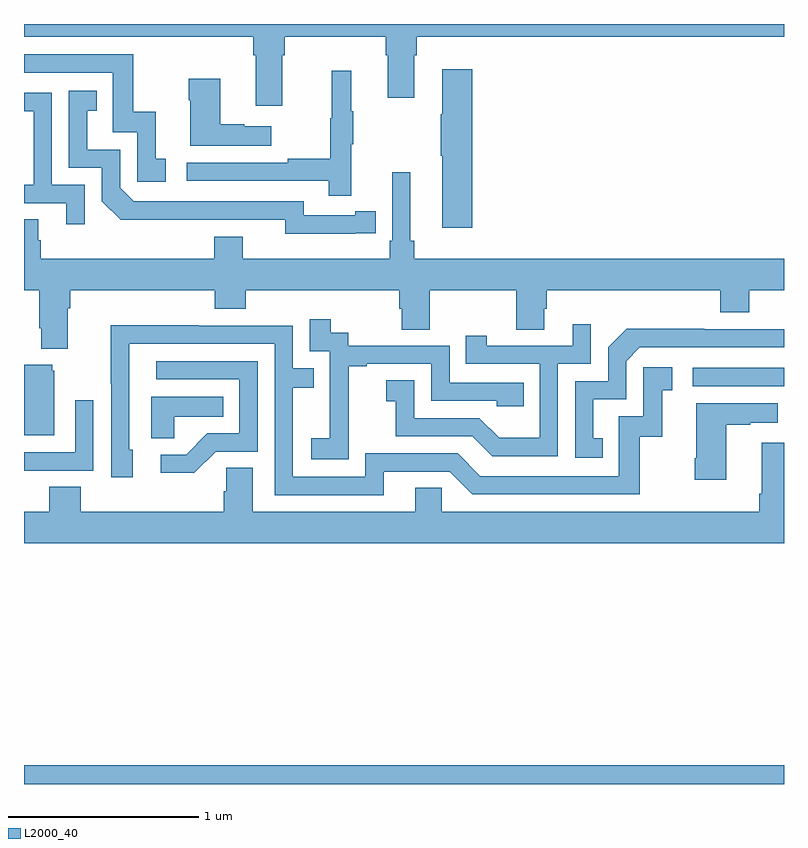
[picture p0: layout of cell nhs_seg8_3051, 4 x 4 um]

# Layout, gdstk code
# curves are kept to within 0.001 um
import gdstk
lib = gdstk.Library(unit=1e-6, precision=1e-09)
def R(c, l, rs):  # rectangles x0, y0, x1, y1
    for r in rs: c.add(gdstk.rectangle(r[:2], r[2:], *l))
def P(c, l, *ps):  # polygons
    for p in ps: c.add(gdstk.Polygon(p, *l))
L2000_40 = (2000, 40)

nhs_seg8_3051 = lib.new_cell('nhs_seg8_3051')
R(nhs_seg8_3051, L2000_40, [(301,1113.9,305,1114), (304.521,1115.994,305,1116.09)])
P(nhs_seg8_3051, L2000_40, [(302.359,1117.736),(302.372,1117.736),(302.372,1117.832),(302.903,1117.832),(302.903,1117.736),(302.915,1117.736),(302.915,1117.512),(303.055,1117.512),(303.055,1117.736),(303.068,1117.736),(303.068,1117.832),(305,1117.832),(305,1117.9),(301,1117.9),(301,1117.832),(302.207,1117.832),(302.207,1117.736),(302.219,1117.736),(302.219,1117.47),(302.359,1117.47)],
  [(301.747,1117.191),(301.694,1117.191),(301.694,1117.438),(301.576,1117.438),(301.576,1117.74),(301,1117.74),(301,1117.644),(301.467,1117.644),(301.467,1117.329),(301.596,1117.329),(301.596,1117.071),(301.747,1117.071)],
  [(303.359,1117.663),(303.2,1117.663),(303.2,1117.424),(303.193,1117.424),(303.193,1117.207),(303.2,1117.207),(303.2,1116.828),(303.359,1116.828)],
  [(302.723,1117.267),(302.734,1117.267),(302.734,1117.441),(302.723,1117.441),(302.723,1117.654),(302.62,1117.654),(302.62,1117.404),(302.613,1117.404),(302.613,1117.19),(302.389,1117.19),(302.389,1117.17),(301.857,1117.17),(301.857,1117.074),(302.605,1117.074),(302.605,1116.996),(302.723,1116.996)],
  [(302.302,1117.363),(302.159,1117.363),(302.159,1117.373),(302.032,1117.373),(302.032,1117.612),(301.867,1117.612),(301.867,1117.499),(301.874,1117.499),(301.874,1117.259),(302.302,1117.259)],
  [(302.744,1116.798),(302.852,1116.798),(302.852,1116.914),(302.744,1116.914),(302.744,1116.894),(302.472,1116.894),(302.472,1116.966),(301.578,1116.966),(301.506,1117.038),(301.506,1117.239),(301.333,1117.239),(301.333,1117.443),(301.382,1117.443),(301.382,1117.549),(301.236,1117.549),(301.236,1117.143),(301.41,1117.143),(301.41,1116.966),(301.508,1116.869),(302.376,1116.87),(302.376,1116.797)],
  [(301.32,1117.053),(301.146,1117.053),(301.146,1117.539),(301,1117.539),(301,1117.442),(301.05,1117.442),(301.05,1117.053),(301,1117.053),(301,1116.957),(301.223,1116.957),(301.223,1116.846),(301.32,1116.846)],
  [(301.231,1116.404),(301.244,1116.404),(301.244,1116.5),(302.003,1116.5),(302.003,1116.401),(302.168,1116.401),(302.168,1116.5),(302.975,1116.5),(302.975,1116.402),(302.987,1116.402),(302.987,1116.292),(303.135,1116.292),(303.135,1116.5),(303.592,1116.5),(303.592,1116.292),(303.739,1116.292),(303.739,1116.402),(303.752,1116.402),(303.752,1116.5),(304.664,1116.5),(304.664,1116.383),(304.816,1116.383),(304.816,1116.5),(305,1116.5),(305,1116.664),(303.053,1116.664),(303.053,1116.76),(303.034,1116.76),(303.034,1117.12),(302.937,1117.12),(302.937,1116.76),(302.924,1116.76),(302.924,1116.664),(302.152,1116.664),(302.152,1116.781),(302,1116.781),(302,1116.664),(301.088,1116.664),(301.088,1116.762),(301.075,1116.762),(301.075,1116.872),(301,1116.872),(301,1116.5),(301.079,1116.5),(301.079,1116.298),(301.091,1116.298),(301.091,1116.191),(301.231,1116.191)],
  [(302.709,1115.815),(302.708,1115.815),(302.708,1116.099),(302.803,1116.099),(302.803,1116.111),(303.144,1116.111),(303.144,1115.916),(303.489,1115.916),(303.489,1115.889),(303.629,1115.889),(303.629,1116.012),(303.24,1116.012),(303.24,1116.207),(302.706,1116.207),(302.706,1116.276),(302.614,1116.276),(302.614,1116.346),(302.505,1116.346),(302.505,1116.177),(302.61,1116.177),(302.61,1115.948),(302.609,1115.948),(302.609,1115.719),(302.511,1115.719),(302.511,1115.609),(302.709,1115.609)],
  [(303.81,1116.111),(303.984,1116.111),(303.984,1116.319),(303.887,1116.319),(303.887,1116.207),(303.436,1116.207),(303.436,1116.259),(303.325,1116.259),(303.325,1116.111),(303.714,1116.111),(303.714,1115.722),(303.5,1115.722),(303.396,1115.826),(303.054,1115.826),(303.054,1116.025),(302.907,1116.025),(302.907,1115.915),(302.956,1115.915),(302.956,1115.73),(303.359,1115.73),(303.464,1115.625),(303.81,1115.625)],
  [(302.893,1115.544),(303.24,1115.544),(303.36,1115.424),(304.24,1115.424),(304.24,1115.727),(304.358,1115.727),(304.358,1115.973),(304.411,1115.973),(304.411,1116.094),(304.26,1116.094),(304.26,1115.835),(304.131,1115.835),(304.131,1115.52),(303.402,1115.52),(303.282,1115.64),(302.796,1115.64),(302.796,1115.517),(302.415,1115.517),(302.415,1115.986),(302.525,1115.986),(302.525,1116.087),(302.415,1116.087),(302.415,1116.312),(301.919,1116.312),(301.919,1116.314),(301.456,1116.314),(301.456,1116.007),(301.458,1116.007),(301.458,1115.514),(301.573,1115.514),(301.573,1115.658),(301.554,1115.658),(301.554,1116.216),(302.319,1116.216),(302.319,1115.421),(302.893,1115.421)],
  [(304.046,1115.721),(303.997,1115.721),(303.997,1115.925),(304.17,1115.925),(304.17,1116.126),(304.242,1116.198),(305,1116.198),(305,1116.294),(304.58,1116.294),(304.58,1116.296),(304.172,1116.296),(304.074,1116.198),(304.074,1116.021),(303.9,1116.021),(303.9,1115.616),(304.046,1115.616)],
  [(302.01,1115.649),(302.229,1115.649),(302.229,1116.126),(301.695,1116.126),(301.695,1116.03),(302.133,1116.03),(302.133,1115.745),(301.964,1115.745),(301.853,1115.634),(301.719,1115.634),(301.719,1115.537),(301.897,1115.537)],
  [(301.159,1116.075),(301.148,1116.075),(301.148,1116.106),(301.001,1116.106),(301.001,1115.938),(301,1115.938),(301,1115.735),(301.159,1115.735)],
  [(301.791,1115.834),(302.048,1115.834),(302.048,1115.938),(301.67,1115.938),(301.67,1115.719),(301.791,1115.719)],
  [(301.049,1115.55),(301.365,1115.55),(301.365,1115.92),(301.269,1115.92),(301.269,1115.646),(301,1115.646),(301,1115.549),(301.049,1115.549)],
  [(304.696,1115.791),(304.823,1115.791),(304.823,1115.801),(304.966,1115.801),(304.966,1115.905),(304.538,1115.905),(304.538,1115.614),(304.531,1115.614),(304.531,1115.502),(304.696,1115.502)],
  [(305,1115.695),(304.883,1115.695),(304.883,1115.428),(304.871,1115.428),(304.871,1115.332),(303.198,1115.332),(303.198,1115.459),(303.059,1115.459),(303.059,1115.332),(302.203,1115.332),(302.203,1115.564),(302.064,1115.564),(302.064,1115.441),(302.051,1115.441),(302.051,1115.332),(301.298,1115.332),(301.298,1115.465),(301.133,1115.465),(301.133,1115.332),(301,1115.332),(301,1115.168),(305,1115.168)])

lib.write_gds('nhs_seg8_3051.gds')
